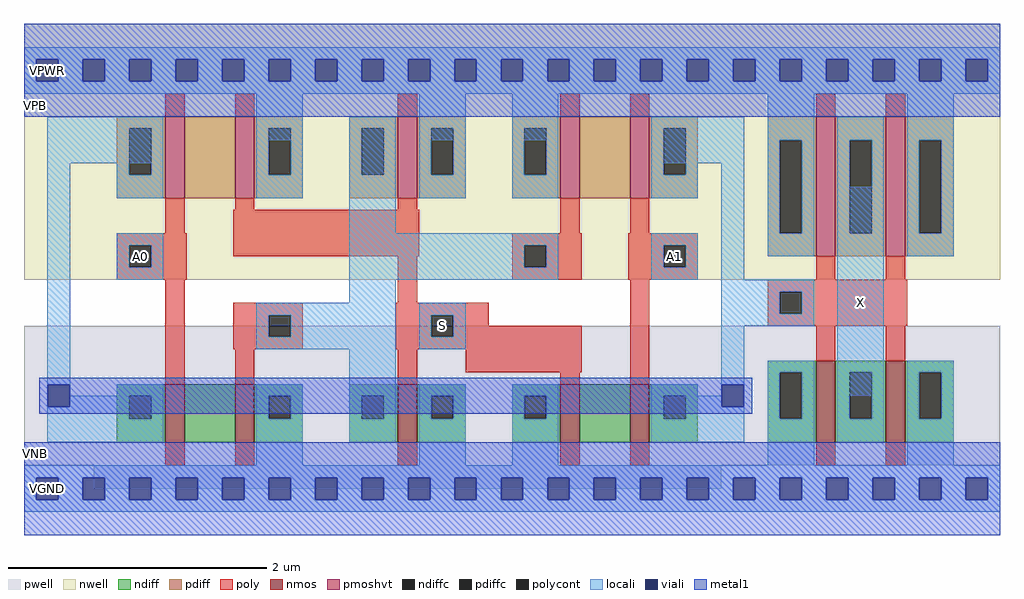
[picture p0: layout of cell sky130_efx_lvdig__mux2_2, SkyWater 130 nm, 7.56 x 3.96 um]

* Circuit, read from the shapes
.subckt sky130_efx_lvdig__mux2_2 A0 A1 S X VGND VPWR VPB VNB
XM1 n1 A0 n2 VNB sky130_fd_pr__nfet_01v8 w=0.45 l=0.15
XM2 VGND n3 n1 VNB sky130_fd_pr__nfet_01v8 w=0.45 l=0.15
XM3 VGND S n3 VNB sky130_fd_pr__nfet_01v8 w=0.45 l=0.15
XM4 n4 S VGND VNB sky130_fd_pr__nfet_01v8 w=0.45 l=0.15
XM5 n2 A1 n4 VNB sky130_fd_pr__nfet_01v8 w=0.45 l=0.15
XM6 X n2 VGND VNB sky130_fd_pr__nfet_01v8 w=0.63 l=0.15 m=2
XM7 n5 A0 n2 VPB sky130_fd_pr__pfet_01v8_hvt w=0.63 l=0.15
XM8 VPWR S n5 VPB sky130_fd_pr__pfet_01v8_hvt w=0.63 l=0.15
XM9 VPWR S n3 VPB sky130_fd_pr__pfet_01v8_hvt w=0.63 l=0.15
XM10 n6 n3 VPWR VPB sky130_fd_pr__pfet_01v8_hvt w=0.63 l=0.15
XM11 n2 A1 n6 VPB sky130_fd_pr__pfet_01v8_hvt w=0.63 l=0.15
XM12 X n2 VPWR VPB sky130_fd_pr__pfet_01v8_hvt w=1.08 l=0.15 m=2
.ends

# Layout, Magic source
magic
tech sky130A
magscale 1 2
<< nwell >>
rect 0 288 1512 684
<< pwell >>
rect 0 0 1512 216
<< poly >>
rect 219 360 249 414
rect 327 396 357 414
rect 579 396 609 414
rect 144 341 252 360
rect 144 307 163 341
rect 197 307 252 341
rect 324 324 612 396
rect 831 360 861 414
rect 939 360 969 414
rect 756 341 864 360
rect 144 288 252 307
rect 219 126 249 288
rect 579 252 609 324
rect 756 307 775 341
rect 809 307 864 341
rect 756 288 864 307
rect 936 341 1044 360
rect 936 307 991 341
rect 1025 307 1044 341
rect 936 288 1044 307
rect 324 233 432 252
rect 324 199 379 233
rect 413 199 432 233
rect 324 180 432 199
rect 576 233 720 252
rect 576 199 631 233
rect 665 216 720 233
rect 665 199 864 216
rect 576 180 864 199
rect 327 126 357 180
rect 579 126 609 180
rect 684 144 864 180
rect 831 126 861 144
rect 939 126 969 288
rect 1152 269 1368 288
rect 1152 235 1171 269
rect 1205 235 1368 269
rect 1152 216 1368 235
<< polycont >>
rect 163 307 197 341
rect 775 307 809 341
rect 991 307 1025 341
rect 379 199 413 233
rect 631 199 665 233
rect 1171 235 1205 269
<< locali >>
rect 0 629 1512 648
rect 0 595 19 629
rect 53 595 91 629
rect 125 595 163 629
rect 197 595 235 629
rect 269 595 307 629
rect 341 595 379 629
rect 413 595 451 629
rect 485 595 523 629
rect 557 595 595 629
rect 629 595 667 629
rect 701 595 739 629
rect 773 595 811 629
rect 845 595 883 629
rect 917 595 955 629
rect 989 595 1027 629
rect 1061 595 1099 629
rect 1133 595 1171 629
rect 1205 595 1243 629
rect 1277 595 1315 629
rect 1349 595 1387 629
rect 1421 595 1459 629
rect 1493 595 1512 629
rect 0 576 1512 595
rect 36 468 216 540
rect 360 504 432 576
rect 36 125 72 468
rect 504 360 576 540
rect 612 504 684 576
rect 756 504 828 576
rect 972 468 1116 540
rect 1152 504 1224 576
rect 1368 504 1440 576
rect 144 341 216 360
rect 144 307 163 341
rect 197 307 216 341
rect 144 288 216 307
rect 504 341 828 360
rect 504 307 775 341
rect 809 307 828 341
rect 504 288 828 307
rect 972 341 1044 360
rect 972 307 991 341
rect 1025 307 1044 341
rect 972 288 1044 307
rect 1080 288 1116 468
rect 504 252 576 288
rect 1080 269 1224 288
rect 360 233 576 252
rect 360 199 379 233
rect 413 199 576 233
rect 360 180 576 199
rect 612 233 684 252
rect 612 199 631 233
rect 665 199 684 233
rect 612 180 684 199
rect 1080 235 1171 269
rect 1205 235 1224 269
rect 1080 216 1224 235
rect 36 91 37 125
rect 71 108 72 125
rect 71 91 216 108
rect 36 36 216 91
rect 360 0 432 72
rect 504 36 576 180
rect 1080 125 1116 216
rect 1080 108 1081 125
rect 972 91 1081 108
rect 1115 91 1116 125
rect 1260 108 1332 432
rect 612 0 684 72
rect 756 0 828 72
rect 972 36 1116 91
rect 1152 0 1224 72
rect 1368 0 1440 72
rect 0 -19 1512 0
rect 0 -53 19 -19
rect 53 -53 91 -19
rect 125 -53 163 -19
rect 197 -53 235 -19
rect 269 -53 307 -19
rect 341 -53 379 -19
rect 413 -53 451 -19
rect 485 -53 523 -19
rect 557 -53 595 -19
rect 629 -53 667 -19
rect 701 -53 739 -19
rect 773 -53 811 -19
rect 845 -53 883 -19
rect 917 -53 955 -19
rect 989 -53 1027 -19
rect 1061 -53 1099 -19
rect 1133 -53 1171 -19
rect 1205 -53 1243 -19
rect 1277 -53 1315 -19
rect 1349 -53 1387 -19
rect 1421 -53 1459 -19
rect 1493 -53 1512 -19
rect 0 -72 1512 -53
<< viali >>
rect 19 595 53 629
rect 91 595 125 629
rect 163 595 197 629
rect 235 595 269 629
rect 307 595 341 629
rect 379 595 413 629
rect 451 595 485 629
rect 523 595 557 629
rect 595 595 629 629
rect 667 595 701 629
rect 739 595 773 629
rect 811 595 845 629
rect 883 595 917 629
rect 955 595 989 629
rect 1027 595 1061 629
rect 1099 595 1133 629
rect 1171 595 1205 629
rect 1243 595 1277 629
rect 1315 595 1349 629
rect 1387 595 1421 629
rect 1459 595 1493 629
rect 37 91 71 125
rect 1081 91 1115 125
rect 19 -53 53 -19
rect 91 -53 125 -19
rect 163 -53 197 -19
rect 235 -53 269 -19
rect 307 -53 341 -19
rect 379 -53 413 -19
rect 451 -53 485 -19
rect 523 -53 557 -19
rect 595 -53 629 -19
rect 667 -53 701 -19
rect 739 -53 773 -19
rect 811 -53 845 -19
rect 883 -53 917 -19
rect 955 -53 989 -19
rect 1027 -53 1061 -19
rect 1099 -53 1133 -19
rect 1171 -53 1205 -19
rect 1243 -53 1277 -19
rect 1315 -53 1349 -19
rect 1387 -53 1421 -19
rect 1459 -53 1493 -19
<< metal1 >>
rect 0 629 1512 684
rect 0 595 19 629
rect 53 595 91 629
rect 125 595 163 629
rect 197 595 235 629
rect 269 595 307 629
rect 341 595 379 629
rect 413 595 451 629
rect 485 595 523 629
rect 557 595 595 629
rect 629 595 667 629
rect 701 595 739 629
rect 773 595 811 629
rect 845 595 883 629
rect 917 595 955 629
rect 989 595 1027 629
rect 1061 595 1099 629
rect 1133 595 1171 629
rect 1205 595 1243 629
rect 1277 595 1315 629
rect 1349 595 1387 629
rect 1421 595 1459 629
rect 1493 595 1512 629
rect 0 540 1512 595
rect 24 125 1128 136
rect 24 91 37 125
rect 71 91 1081 125
rect 1115 91 1128 125
rect 24 80 1128 91
rect 0 -19 1512 36
rect 0 -53 19 -19
rect 53 -53 91 -19
rect 125 -53 163 -19
rect 197 -53 235 -19
rect 269 -53 307 -19
rect 341 -53 379 -19
rect 413 -53 451 -19
rect 485 -53 523 -19
rect 557 -53 595 -19
rect 629 -53 667 -19
rect 701 -53 739 -19
rect 773 -53 811 -19
rect 845 -53 883 -19
rect 917 -53 955 -19
rect 989 -53 1027 -19
rect 1061 -53 1099 -19
rect 1133 -53 1171 -19
rect 1205 -53 1243 -19
rect 1277 -53 1315 -19
rect 1349 -53 1387 -19
rect 1421 -53 1459 -19
rect 1493 -53 1512 -19
rect 0 -108 1512 -53
use nmos_n2f5_f1_l150_ff_sp  nmos_n2f5_f1_l150_ff_sp_0
transform 1 0 540 0 1 36
box -72 -72 180 162
use nmos_n2f5_f2_l150_fnf_sp  nmos_n2f5_f2_l150_fnf_sp_0
transform 1 0 180 0 1 36
box -72 -72 288 162
use nmos_n2f5_f2_l150_fnf_sp  nmos_n2f5_f2_l150_fnf_sp_1
transform 1 0 792 0 1 36
box -72 -72 288 162
use nmos_n3f5_f1_l150  nmos_n3f5_f1_l150_0
transform 1 0 1188 0 1 36
box -72 -36 180 180
use nmos_n3f5_f1_l150  nmos_n3f5_f1_l150_1
transform 1 0 1296 0 1 36
box -72 -36 180 180
use pmos_n3f5_f1_l150_hvt_ff_sp  pmos_n3f5_f1_l150_hvt_ff_sp_0
transform 1 0 540 0 1 414
box -72 -72 180 198
use pmos_n3f5_f2_l150_hvt_fnf_sp  pmos_n3f5_f2_l150_hvt_fnf_sp_0
transform 1 0 180 0 1 414
box -72 -72 288 198
use pmos_n3f5_f2_l150_hvt_fnf_sp  pmos_n3f5_f2_l150_hvt_fnf_sp_1
transform 1 0 792 0 1 414
box -72 -72 288 198
use pmos_n6_f1_l150_hvt  pmos_n6_f1_l150_hvt_0
transform 1 0 1188 0 1 324
box -72 -36 180 252
use pmos_n6_f1_l150_hvt  pmos_n6_f1_l150_hvt_1
transform 1 0 1296 0 1 324
box -72 -36 180 252
<< labels >>
flabel locali 144 288 216 360 0 FreeSans 288 0 0 0 A0
port 1 nsew signal input
flabel locali 972 288 1044 360 0 FreeSans 288 0 0 0 A1
port 2 nsew signal input
flabel locali 612 180 684 252 0 FreeSans 288 0 0 0 S
port 3 nsew signal input
flabel locali 1260 216 1332 288 0 FreeSans 288 0 0 0 X
port 4 nsew signal output
flabel metal1 0 -72 72 0 0 FreeSans 288 0 0 0 VGND
port 5 nsew ground bidirectional
flabel metal1 0 576 72 648 0 FreeSans 288 0 0 0 VPWR
port 6 nsew power bidirectional
flabel nwell 0 540 36 576 0 FreeSans 288 0 0 0 VPB
port 7 nsew power bidirectional
flabel pwell 0 0 36 36 0 FreeSans 288 0 0 0 VNB
port 8 nsew ground bidirectional
<< properties >>
string FIXED_BBOX 0 -36 1512 612
<< end >>

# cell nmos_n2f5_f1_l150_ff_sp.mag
magic
tech sky130A
magscale 1 2
<< pwell >>
rect -72 -72 180 162
<< nmos >>
rect 39 0 69 90
<< ndiff >>
rect -36 72 39 90
rect -36 36 -17 72
rect 17 36 39 72
rect -36 0 39 36
rect 69 72 144 90
rect 69 36 91 72
rect 125 36 144 72
rect 69 0 144 36
<< ndiffc >>
rect -17 36 17 72
rect 91 36 125 72
<< poly >>
rect 39 90 69 126
rect 39 -36 69 0
<< locali >>
rect -36 72 36 90
rect -36 36 -17 72
rect 17 36 36 72
rect -36 0 36 36
rect 72 72 144 90
rect 72 36 91 72
rect 125 36 144 72
rect 72 0 144 36
<< end >>

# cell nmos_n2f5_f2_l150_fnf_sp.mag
magic
tech sky130A
magscale 1 2
<< pwell >>
rect -72 -72 288 162
<< nmos >>
rect 39 0 69 90
rect 147 0 177 90
<< ndiff >>
rect -36 72 39 90
rect -36 36 -17 72
rect 17 36 39 72
rect -36 0 39 36
rect 69 0 147 90
rect 177 72 252 90
rect 177 36 199 72
rect 233 36 252 72
rect 177 0 252 36
<< ndiffc >>
rect -17 36 17 72
rect 199 36 233 72
<< poly >>
rect 39 90 69 126
rect 147 90 177 126
rect 39 -36 69 0
rect 147 -36 177 0
<< locali >>
rect -36 72 36 90
rect -36 36 -17 72
rect 17 36 36 72
rect -36 0 36 36
rect 180 72 252 90
rect 180 36 199 72
rect 233 36 252 72
rect 180 0 252 36
<< end >>

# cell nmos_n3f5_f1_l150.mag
magic
tech sky130A
magscale 1 2
<< pwell >>
rect -72 -36 180 180
<< nmos >>
rect 39 0 69 126
<< ndiff >>
rect -36 108 39 126
rect -36 36 -17 108
rect 17 36 39 108
rect -36 0 39 36
rect 69 108 144 126
rect 69 36 91 108
rect 125 36 144 108
rect 69 0 144 36
<< ndiffc >>
rect -17 36 17 108
rect 91 36 125 108
<< poly >>
rect 39 126 69 180
rect 39 -36 69 0
<< locali >>
rect -36 108 36 126
rect -36 36 -17 108
rect 17 36 36 108
rect -36 0 36 36
rect 72 108 144 126
rect 72 36 91 108
rect 125 36 144 108
rect 72 0 144 36
<< labels >>
rlabel locali 0 18 0 18 0 S0
port 1 nsew
rlabel locali 108 18 108 18 0 D0
port 2 nsew
<< end >>

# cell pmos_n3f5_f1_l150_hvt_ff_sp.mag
magic
tech sky130A
magscale 1 2
<< nwell >>
rect -72 -72 180 198
<< pmoshvt >>
rect 39 0 69 126
<< pdiff >>
rect -36 108 39 126
rect -36 36 -17 108
rect 17 36 39 108
rect -36 0 39 36
rect 69 108 144 126
rect 69 36 91 108
rect 125 36 144 108
rect 69 0 144 36
<< pdiffc >>
rect -17 36 17 108
rect 91 36 125 108
<< poly >>
rect 39 126 69 162
rect 39 -36 69 0
<< locali >>
rect -36 108 36 126
rect -36 36 -17 108
rect 17 36 36 108
rect -36 0 36 36
rect 72 108 144 126
rect 72 36 91 108
rect 125 36 144 108
rect 72 0 144 36
<< end >>

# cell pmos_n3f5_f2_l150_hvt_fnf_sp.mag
magic
tech sky130A
magscale 1 2
<< nwell >>
rect -72 -72 288 198
<< pmoshvt >>
rect 39 0 69 126
rect 147 0 177 126
<< pdiff >>
rect -36 108 39 126
rect -36 36 -17 108
rect 17 36 39 108
rect -36 0 39 36
rect 69 0 147 126
rect 177 108 252 126
rect 177 36 199 108
rect 233 36 252 108
rect 177 0 252 36
<< pdiffc >>
rect -17 36 17 108
rect 199 36 233 108
<< poly >>
rect 39 126 69 162
rect 147 126 177 162
rect 39 -36 69 0
rect 147 -36 177 0
<< locali >>
rect -36 108 36 126
rect -36 36 -17 108
rect 17 36 36 108
rect -36 0 36 36
rect 180 108 252 126
rect 180 36 199 108
rect 233 36 252 108
rect 180 0 252 36
<< end >>

# cell pmos_n6_f1_l150_hvt: kit device pmos, n 6 fingers 1 length 0.15 butted 0 ltap 0 rtap 0 vt hvt tgate 0 bgate 0
